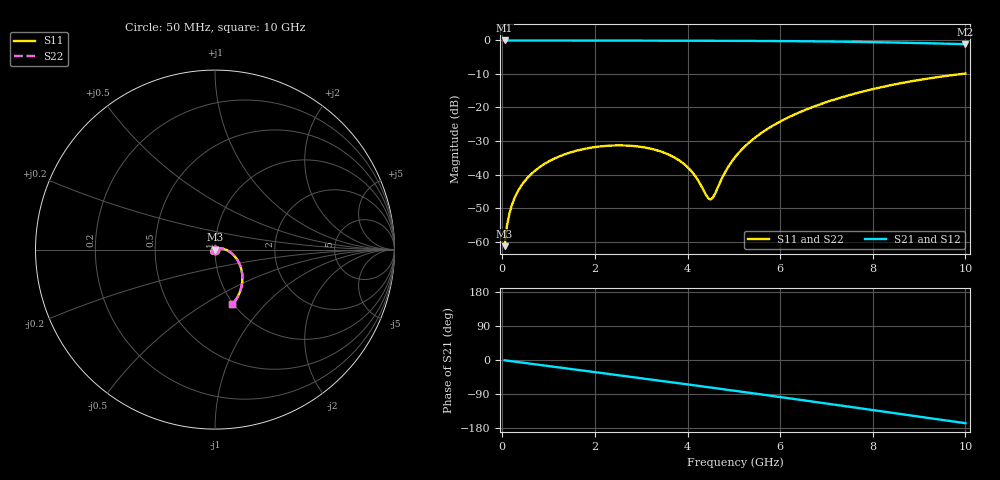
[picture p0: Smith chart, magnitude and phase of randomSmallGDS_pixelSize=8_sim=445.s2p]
! freq	dB(S11)	phase(S11)	dB(S12)	phase(S12)
!  dB(S21)	phase(S21)	dB(S22)	phase(S22)
!S-par simulation data
#  GHz  S  DB  R 50
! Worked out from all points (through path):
!   200 points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, 50 MHz to 10 GHz, reference 50 ohm
!   highest |S21| = 0.00 dB at 50 MHz (marker M1); lowest = -1.1 dB at 10 GHz (marker M2)
!   group delay of S21, straight-line fit = 46.4 ps
!   lowest |S11| = -61.4 dB at 50 MHz (marker M3), VSWR 1.00, Z = 50 - j0.0854 ohm
!   |S11| at or under -10 dB: start of sweep to 9.925 GHz
!   |S22| runs from -61.4 to -9.9 dB; largest |S21 - S12| = 0
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0.05  -61.37 -89.6  -0.00 -0.8  -0.00 -0.8  -61.37 -89.6
0.1  -55.37 -91.4  -0.00 -1.6  -0.00 -1.6  -55.37 -91.4
0.2  -49.42 -93.9  -0.00 -3.2  -0.00 -3.2  -49.42 -93.9
0.35  -44.67 -96.8  -0.00 -5.6  -0.00 -5.6  -44.67 -96.8
0.5  -41.69 -99.4  -0.01 -8.1  -0.01 -8.1  -41.69 -99.4
1  -36.12 -107.9  -0.02 -16.1  -0.02 -16.1  -36.12 -107.9
1.75  -32.42 -120.7  -0.03 -28.0  -0.03 -28.0  -32.42 -120.7
2.6  -31.31 -135.7  -0.05 -41.7  -0.05 -41.7  -31.31 -135.7
3.4  -33.03 -151.6  -0.06 -54.6  -0.06 -54.6  -33.03 -151.6
3.75  -35.18 -160.6  -0.07 -60.3  -0.07 -60.3  -35.18 -160.6
4  -37.80 -169.9  -0.08 -64.4  -0.08 -64.4  -37.79 -169.9
4.2  -41.14 177.1  -0.08 -67.7  -0.08 -67.7  -41.13 177.1
4.45  -47.14 127.2  -0.09 -71.8  -0.09 -71.8  -47.12 127.1
4.5  -47.46 107.7  -0.09 -72.6  -0.09 -72.6  -47.44 107.8
4.6  -45.56 72.0  -0.10 -74.3  -0.10 -74.3  -45.55 72.1
4.85  -38.38 34.9  -0.11 -78.4  -0.11 -78.4  -38.38 35.0
5.05  -34.42 23.9  -0.12 -81.7  -0.12 -81.7  -34.42 24.0
5.35  -30.20 13.9  -0.13 -86.7  -0.13 -86.7  -30.20 13.9
5.7  -26.62 5.3  -0.16 -92.6  -0.16 -92.6  -26.62 5.4
6.7  -19.87 -14.6  -0.26 -109.7  -0.26 -109.7  -19.87 -14.5
8.35  -13.46 -44.1  -0.58 -138.3  -0.58 -138.3  -13.46 -44.1
10  -9.88 -72.4  -1.11 -166.8  -1.11 -166.8  -9.88 -72.4
